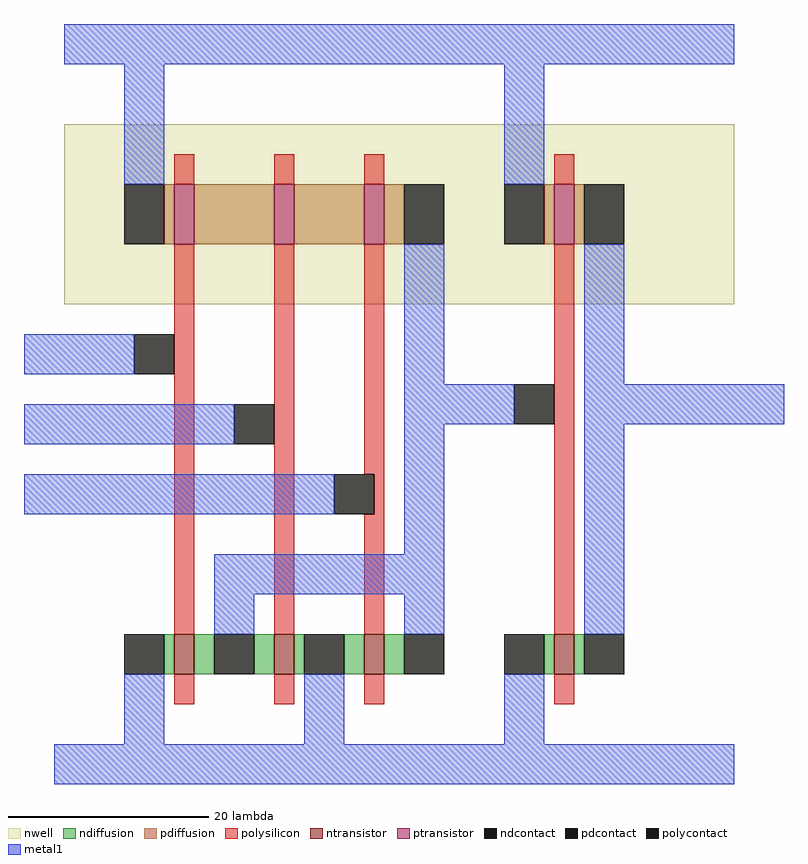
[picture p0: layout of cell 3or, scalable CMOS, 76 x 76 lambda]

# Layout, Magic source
magic
tech scmos
<< nwell >>
rect -13 7 54 25
<< ntransistor >>
rect -2 -30 0 -26
rect 8 -30 10 -26
rect 17 -30 19 -26
rect 36 -30 38 -26
<< ptransistor >>
rect -2 13 0 19
rect 8 13 10 19
rect 17 13 19 19
rect 36 13 38 19
<< ndiffusion >>
rect -3 -30 -2 -26
rect 0 -30 2 -26
rect 6 -30 8 -26
rect 10 -30 11 -26
rect 15 -30 17 -26
rect 19 -30 21 -26
rect 35 -30 36 -26
rect 38 -30 39 -26
<< pdiffusion >>
rect -3 13 -2 19
rect 0 13 8 19
rect 10 13 17 19
rect 19 13 21 19
rect 35 13 36 19
rect 38 13 39 19
<< ndcontact >>
rect -7 -30 -3 -26
rect 2 -30 6 -26
rect 11 -30 15 -26
rect 21 -30 25 -26
rect 31 -30 35 -26
rect 39 -30 43 -26
<< pdcontact >>
rect -7 13 -3 19
rect 21 13 25 19
rect 31 13 35 19
rect 39 13 43 19
<< polysilicon >>
rect -2 19 0 22
rect 8 19 10 22
rect 17 19 19 22
rect 36 19 38 22
rect -2 -26 0 13
rect 8 -26 10 13
rect 17 -10 19 13
rect 18 -14 19 -10
rect 17 -26 19 -14
rect 36 -26 38 13
rect -2 -33 0 -30
rect 8 -33 10 -30
rect 17 -33 19 -30
rect 36 -33 38 -30
<< polycontact >>
rect -6 0 -2 4
rect 4 -7 8 -3
rect 32 -5 36 -1
rect 14 -14 18 -10
<< metal1 >>
rect -13 31 54 35
rect -7 19 -3 31
rect 31 19 35 31
rect -17 0 -6 4
rect 21 -1 25 13
rect 39 -1 43 13
rect -17 -7 4 -3
rect 21 -5 32 -1
rect 39 -5 59 -1
rect -17 -14 14 -10
rect 21 -18 25 -5
rect 2 -22 25 -18
rect 2 -26 6 -22
rect 21 -26 25 -22
rect 39 -26 43 -5
rect -7 -37 -3 -30
rect 11 -37 15 -30
rect 31 -37 35 -30
rect -14 -41 54 -37
<< end >>
